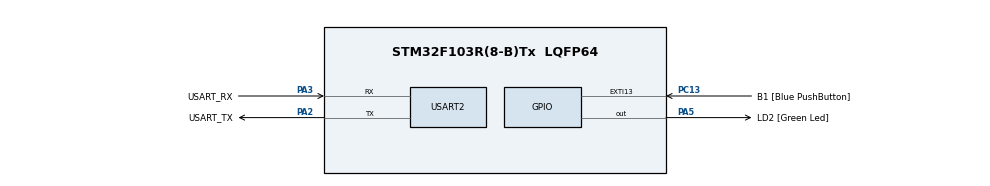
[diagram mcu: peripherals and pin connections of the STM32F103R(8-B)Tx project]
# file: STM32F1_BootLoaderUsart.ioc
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Mcu.Family=STM32F1
Mcu.Name=STM32F103R(8-B)Tx
Mcu.Package=LQFP64
NVIC.EXTI15_10_IRQn=true\:0\:0\:false\:false\:true\:true\:true
NVIC.PriorityGroup=NVIC_PRIORITYGROUP_4
PA13.GPIO_Label=TMS
PA13.Mode=Serial_Wire
PA13.Signal=SYS_JTMS-SWDIO
PA14.GPIO_Label=TCK
PA14.Mode=Serial_Wire
PA14.Signal=SYS_JTCK-SWCLK
PA2.GPIO_Label=USART_TX
PA2.GPIO_Mode=GPIO_MODE_AF_PP
PA2.GPIO_PuPd=GPIO_NOPULL
PA2.GPIO_Speed=GPIO_SPEED_FREQ_LOW
PA2.Mode=Asynchronous
PA2.Signal=USART2_TX
PA3.GPIO_Label=USART_RX
PA3.GPIO_Mode=GPIO_MODE_AF_PP
PA3.GPIO_PuPd=GPIO_NOPULL
PA3.GPIO_Speed=GPIO_SPEED_FREQ_LOW
PA3.Mode=Asynchronous
PA3.Signal=USART2_RX
PA5.GPIO_Label=LD2 [Green Led]
PA5.GPIO_ModeDefaultOutputPP=GPIO_MODE_OUTPUT_PP
PA5.GPIO_PuPd=GPIO_NOPULL
PA5.GPIO_Speed=GPIO_SPEED_FREQ_LOW
PA5.Signal=GPIO_Output
PB3.GPIO_Label=SWO
PB3.Signal=SYS_JTDO-TRACESWO
PC13-TAMPER-RTC.GPIO_Label=B1 [Blue PushButton]
PC13-TAMPER-RTC.GPIO_PuPd=GPIO_NOPULL
PC13-TAMPER-RTC.Signal=GPXTI13
PC14-OSC32_IN.Mode=LSE-External-Oscillator
PC14-OSC32_IN.Signal=RCC_OSC32_IN
PC15-OSC32_OUT.Mode=LSE-External-Oscillator
PC15-OSC32_OUT.Signal=RCC_OSC32_OUT
PD0-OSC_IN.Mode=HSE-External-Clock-Source
PD0-OSC_IN.Signal=RCC_OSC_IN
PD1-OSC_OUT.Mode=HSE-External-Clock-Source
PD1-OSC_OUT.Signal=RCC_OSC_OUT
ProjectManager.HeapSize=0x200
ProjectManager.StackSize=0x400
ProjectManager.TargetToolchain=STM32CubeIDE
RCC.AHBFreq_Value=64000000
RCC.APB1CLKDivider=RCC_HCLK_DIV2
RCC.APB1Freq_Value=32000000
RCC.APB1TimFreq_Value=64000000
RCC.APB2Freq_Value=64000000
RCC.APB2TimFreq_Value=64000000
RCC.HCLKFreq_Value=64000000
RCC.PLLMUL=RCC_PLL_MUL16
RCC.RTCClockSelection=RCC_RTCCLKSOURCE_LSE
RCC.SYSCLKFreq_VALUE=64000000
RCC.SYSCLKSource=RCC_SYSCLKSOURCE_PLLCLK
RCC.USBFreq_Value=64000000
USART2.VirtualMode=VM_ASYNC
VP_CRC_VS_CRC.Mode=CRC_Activate
board=NUCLEO-F103RB

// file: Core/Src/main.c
/* USER CODE BEGIN Header */
/**
  ******************************************************************************
  * @file           : main.c
  * @brief          : Main program body
  ******************************************************************************
  * @attention
  *
  * <h2><center>&copy; Copyright (c) 2021 STMicroelectronics.
  * All rights reserved.</center></h2>
  *
  * This software component is licensed by ST under BSD 3-Clause license,
  * the "License"; You may not use this file except in compliance with the
  * License. You may obtain a copy of the License at:
  *                        opensource.org/licenses/BSD-3-Clause
  *
  ******************************************************************************
  */
/* USER CODE END Header */
#include "main.h"
#include "crc.h"
#include "usart.h"
#include "gpio.h"

/* USER CODE BEGIN Includes */
#include <stdio.h>
#include <string.h>
#include <stdbool.h>
/* USER CODE END Includes */

/* USER CODE BEGIN PTD */
typedef enum BootloaderOpcode_t {
  BOOTLOADER_CMD_INVALID = 0x00,
  BOOTLOADER_CMD_ECHO = 0x01,
  BOOTLOADER_CMD_SETSIZE = 0x02,
  BOOTLOADER_CMD_UPDATE = 0x03,
  BOOTLOADER_CMD_CHECK = 0x04,
  BOOTLOADER_CMD_JUMP = 0x05
} BootloaderOpcode;

typedef struct BootloaderCommand_t {
  uint32_t data;
  BootloaderOpcode opcode;
} BootloaderCommand;

/* USER CODE END PTD */

/* USER CODE BEGIN PD */

#define AppPagesNum (127-32)
#define AppFrPageAddr 0x8008000

char const* const BOOTLOADER_MSG_OK = "OK!";
char const* const BOOTLOADER_MSG_ERR = "ERR";

uint32_t const APPLICATION_ADDRESS = 0x08008000UL;

#define BOOTLOADER_BUFFER_SIZE 1024
/* USER CODE END PD */

/* USER CODE BEGIN PV */
bool buttonPressed = false;
uint32_t applicationSize = 0;
uint8_t bootloaderBuffer[BOOTLOADER_BUFFER_SIZE] = { };
/* USER CODE END PV */

void SystemClock_Config(void);

/* USER CODE BEGIN 0 */
void deinit_peripherals() {
  HAL_CRC_DeInit(&hcrc);
  HAL_UART_DeInit(&huart2);
  HAL_NVIC_DisableIRQ(B1_EXTI_IRQn);
  HAL_GPIO_DeInit(LD2_GPIO_Port, LD2_Pin);
  HAL_GPIO_DeInit(B1_GPIO_Port, B1_Pin);
  LL_RCC_DeInit();  // We're using LL RCC, so we'll use this function
  HAL_DeInit();

  SysTick->CTRL = 0;
  SysTick->LOAD = 0;
  SysTick->VAL = 0;
}

void jump_to_application(uint32_t const app_address) {
  typedef void (*jumpFunction)(); // helper-typedef
  uint32_t const jumpAddress = *(__IO uint32_t*) (app_address + 4); // Address of application's Reset Handler
  jumpFunction runApplication = (jumpFunction) jumpAddress; // Function we'll use to jump to application

  deinit_peripherals(); // Deinitialization of peripherals and systick
  __set_MSP(*((__IO uint32_t*) app_address)); // Stack pointer setup
  runApplication(); // Jump to application
}

BootloaderCommand get_command(UART_HandleTypeDef* const uart, uint32_t const timeout) {
  BootloaderCommand cmd = { .opcode = BOOTLOADER_CMD_INVALID };
  uint8_t buffer[5] = { 0 };

  HAL_StatusTypeDef status = HAL_UART_Receive(uart, buffer, 5, timeout);
  if(buffer[0]==0x01)
  {
	  volatile int i;
	  UNUSED(i);
  }
  if (status == HAL_OK) {
    cmd.opcode = buffer[0];
    // Assuming big-endian data coming from programmer
    cmd.data = (((uint32_t) buffer[1]) << 24)
               | (((uint32_t) buffer[2]) << 16)
               | (((uint32_t) buffer[3]) << 8)
               | buffer[4];
  }

  return cmd;
}

void respond_ok(UART_HandleTypeDef* const uart) {
  // for a nice, visual effect
  HAL_GPIO_TogglePin(LD2_GPIO_Port, LD2_Pin);
  HAL_UART_Transmit(uart, (uint8_t*) BOOTLOADER_MSG_OK, 3, HAL_MAX_DELAY);
}

void respond_err(UART_HandleTypeDef* const uart) {
  HAL_UART_Transmit(uart, (uint8_t*) BOOTLOADER_MSG_ERR, 3, HAL_MAX_DELAY);
}

bool erase_application(unsigned firstPageAddr, unsigned NbPages) {
  FLASH_EraseInitTypeDef eraseConfig;
  eraseConfig.TypeErase = FLASH_TYPEERASE_PAGES;
  eraseConfig.Banks=1;
  eraseConfig.PageAddress = firstPageAddr;
  eraseConfig.NbPages = NbPages;

  uint32_t sectorError = 0;
  if (HAL_FLASHEx_Erase(&eraseConfig, &sectorError) != HAL_OK) {
    return false;
  }

  return sectorError == 0xFFFFFFFFU;
}

bool flash_and_verify(uint8_t const* const bytes, size_t const amount, uint32_t const offset) {
  if (amount == 0 || bytes == NULL || amount % 4 != 0) {
    return false;
  }

  // Program the flash memory word-by-word
  for (uint32_t bytesCounter = 0; bytesCounter < amount; bytesCounter += 4) {
    uint32_t const programmingData = *(uint32_t*) (&bytes[bytesCounter]);
    uint32_t const programmingAddress = APPLICATION_ADDRESS + offset + bytesCounter;
    if (HAL_FLASH_Program(FLASH_TYPEPROGRAM_WORD, programmingAddress, programmingData) != HAL_OK) {
      return false;
    }

    uint32_t const verificationData = *(uint32_t*) programmingAddress;
    if (verificationData != programmingData) {
      return false;
    }

  }

  return true;
}

bool receive_and_flash_firmware(UART_HandleTypeDef* const uart, uint32_t const firmwareSize) {
  // sanity check - fail loudly if no application size is set
  if (firmwareSize == 0) {
    return false;
  }

  uint32_t bytesProgrammed = 0;

  if (HAL_FLASH_Unlock() != HAL_OK) {
    return false;
  }

  if (!erase_application(AppFrPageAddr, AppPagesNum)) {
    HAL_FLASH_Lock();
    return false;
  }

  // tell the programmer that you're ready to go
  respond_ok(uart);

  while (bytesProgrammed < firmwareSize) {
    // Calculate how much data is left to receive
    uint32_t const bytesLeft = firmwareSize - bytesProgrammed;
    uint32_t const bytesToReceive = (
        bytesLeft > BOOTLOADER_BUFFER_SIZE ? BOOTLOADER_BUFFER_SIZE : bytesLeft);

    // Try receiving the data, return on failure
    if (HAL_UART_Receive(uart, bootloaderBuffer, bytesToReceive, 1000) != HAL_OK) {
      HAL_FLASH_Lock();
      return false;
    }

    if (!flash_and_verify(bootloaderBuffer, bytesToReceive, bytesProgrammed)) {
      HAL_FLASH_Lock();
      return false;
    }

    bytesProgrammed += bytesToReceive;
    respond_ok(uart);
  }

  HAL_FLASH_Lock();
  return true;
}

bool verify_firmware(uint32_t const firmwareSize, uint32_t const expectedChecksum) {
  // sanity check - fail loudly if no application size is set
  if (firmwareSize == 0) {
    return false;
  }

  uint32_t const calculatedChecksum = HAL_CRC_Calculate(&hcrc,
                                                        (uint32_t*) APPLICATION_ADDRESS,
                                                        firmwareSize / 4);
  return (calculatedChecksum == expectedChecksum);
}

/* USER CODE END 0 */

int main(void)
{

  /* MCU Configuration--------------------------------------------------------*/

  /* Reset of all peripherals, Initializes the Flash interface and the Systick. */
  HAL_Init();

  /* Configure the system clock */
  SystemClock_Config();

  /* Initialize all configured peripherals */
  MX_GPIO_Init();
  MX_USART2_UART_Init();
  MX_CRC_Init();
  /* USER CODE BEGIN 2 */
  printf("Hello, this is bootloader. Waiting for firmware.\r\n");
  printf("Tap button on board to Run Application.\r\n");
//  HAL_FLASH_Unlock();
//  erase_application(AppFrPageAddr, AppPagesNum);
//  printf("Appliation erassed.\r\n");
  /* USER CODE END 2 */

  /* Infinite loop */
  /* USER CODE BEGIN WHILE */
  while (1)
  {
	    BootloaderCommand cmd = get_command(&huart2, 100);
	    switch (cmd.opcode) {
	    case BOOTLOADER_CMD_ECHO: {
	      // Simple echo request, respond with OK to tell that
	      // the bootloader is running.
	      respond_ok(&huart2);
	      break;
	    }
	    case BOOTLOADER_CMD_SETSIZE: {
	      // Set the app size and respond with OK
	      applicationSize = cmd.data;
	      respond_ok(&huart2);
	      break;
	    }
	    case BOOTLOADER_CMD_UPDATE: {
	      if (receive_and_flash_firmware(&huart2, applicationSize)) {
	        respond_ok(&huart2);
	      } else {
	        respond_err(&huart2);
	      }
	      break;
	    }
	    case BOOTLOADER_CMD_CHECK: {
	      if (verify_firmware(applicationSize, cmd.data)) {
	        respond_ok(&huart2);
	      } else {
	        respond_err(&huart2);
	      }
	      break;
	    }
	    case BOOTLOADER_CMD_JUMP: {
	      // Jump directly to the application.
	      respond_ok(&huart2);
	      jump_to_application(APPLICATION_ADDRESS);
	      break;
	    }
	    case BOOTLOADER_CMD_INVALID: {
	      // No command received. We have to handle this case, because
	      // otherwise the bootloader would indefinitely spam ERR
	      // while nothing is happening.
	      break;
	    }
	    default: {
	      // Invalid opcode, respond with error.
	      respond_err(&huart2);
	      break;
	    }
	    }

	    if (buttonPressed) {
	      buttonPressed = false;
	      // jump to application
	      jump_to_application(APPLICATION_ADDRESS);
	    }
    /* USER CODE END WHILE */

  }
}

void SystemClock_Config(void)
{
  LL_FLASH_SetLatency(LL_FLASH_LATENCY_2);
  while(LL_FLASH_GetLatency()!= LL_FLASH_LATENCY_2)
  {
  }
  LL_RCC_HSI_SetCalibTrimming(16);
  LL_RCC_HSI_Enable();

   /* Wait till HSI is ready */
  while(LL_RCC_HSI_IsReady() != 1)
  {

  }
  LL_RCC_PLL_ConfigDomain_SYS(LL_RCC_PLLSOURCE_HSI_DIV_2, LL_RCC_PLL_MUL_16);
  LL_RCC_PLL_Enable();

   /* Wait till PLL is ready */
  while(LL_RCC_PLL_IsReady() != 1)
  {

  }
  LL_RCC_SetAHBPrescaler(LL_RCC_SYSCLK_DIV_1);
  LL_RCC_SetAPB1Prescaler(LL_RCC_APB1_DIV_2);
  LL_RCC_SetAPB2Prescaler(LL_RCC_APB2_DIV_1);
  LL_RCC_SetSysClkSource(LL_RCC_SYS_CLKSOURCE_PLL);

   /* Wait till System clock is ready */
  while(LL_RCC_GetSysClkSource() != LL_RCC_SYS_CLKSOURCE_STATUS_PLL)
  {

  }
  LL_SetSystemCoreClock(64000000);

   /* Update the time base */
  if (HAL_InitTick (TICK_INT_PRIORITY) != HAL_OK)
  {
    Error_Handler();
  }
}

/* USER CODE BEGIN 4 */
int _write(int file, char* ptr, int len) {
  HAL_UART_Transmit(&huart2, (uint8_t*) ptr, len, HAL_MAX_DELAY);
  return len;
}

void HAL_GPIO_EXTI_Callback(uint16_t pin) {
  if (pin == B1_Pin) {
    buttonPressed = true;
  }
}
/* USER CODE END 4 */

void Error_Handler(void)
{
  __disable_irq();
  while (1)
  {
  }
}

/************************ (C) COPYRIGHT STMicroelectronics *****END OF FILE****/
